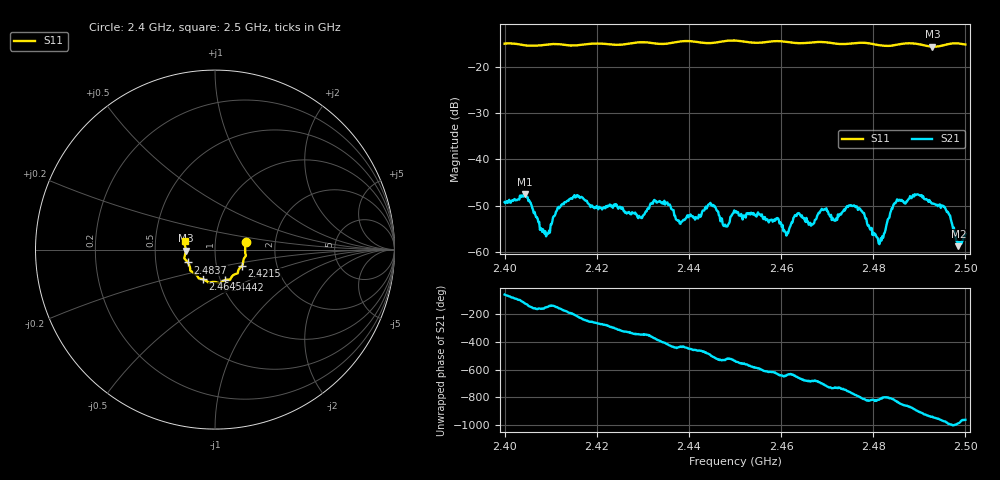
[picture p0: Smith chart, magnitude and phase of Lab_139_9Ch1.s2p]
# Hz S RI R 50
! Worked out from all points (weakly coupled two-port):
!   601 points, 2.4 GHz to 2.5 GHz, reference 50 ohm
!   highest |S21| = -47.52 dB at 2.4043 GHz (marker M1); lowest = -58.7 dB at 2.4985 GHz (marker M2)
!   lowest |S11| = -15.7 dB at 2.4928 GHz (marker M3), VSWR 1.39, Z = 35.9 - j0.377 ohm
!   |S11| at or under -10 dB: start of sweep to end of sweep
!   S12 and S22 are empty: the file has one direction only
!   S11 on the Smith chart (normalised r, x): 2.4 GHz: 1.41, +0.12; 2.4215 GHz: 1.33, -0.25; 2.4442 GHz: 1.05, -0.37; 2.4645 GHz: 0.83, -0.29; 2.4837 GHz: 0.73, -0.11; 2.5 GHz: 0.71, +0.07
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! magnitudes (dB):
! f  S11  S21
! 2.4 GHz  -15.1  -49.2
! 2.4043 GHz  -15.4  -47.5
! 2.409 GHz  -15.3  -56.6
! 2.4167 GHz  -15.3  -48.1
! 2.4215 GHz  -15.1  -50.3
! 2.4293 GHz  -14.8  -52.4
! 2.4333 GHz  -15.1  -49.2
! 2.4382 GHz  -14.6  -53.9
! 2.4442 GHz  -15.0  -49.8
! 2.4478 GHz  -14.5  -54.1
! 2.45 GHz  -14.4  -51.4
! 2.461 GHz  -14.7  -55.7
! 2.4645 GHz  -15.0  -52.1
! 2.4667 GHz  -14.8  -54.1
! 2.476 GHz  -15.0  -50.2
! 2.4813 GHz  -15.4  -58.3
! 2.4833 GHz  -15.5  -52.8
! 2.4837 GHz  -15.5  -51.7
! 2.4928 GHz  -15.7  -49.6
! 2.496 GHz  -15.2  -51.4
! 2.4985 GHz  -15.0  -58.7
! 2.5 GHz  -15.3  -56.1
